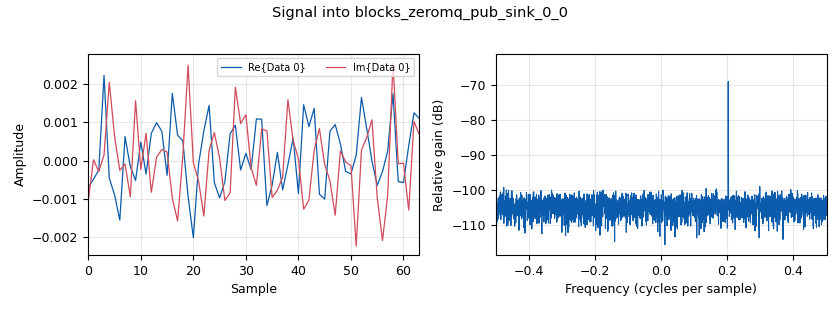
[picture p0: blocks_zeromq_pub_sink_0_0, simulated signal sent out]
options:
  parameters:
    author: Jérôme Odier
    description: https://www.odier.xyz/
    generate_options: no_gui
    id: spectro_osmo
    output_language: python
    title: Spectro OsmoSDR
  states: {}

blocks:
- name: analog_fastnoise_source_x_0
  id: analog_fastnoise_source_x
  parameters:
    amp: '0.001'
    noise_type: analog.GR_GAUSSIAN
    samples: '8192'
    seed: '0'
    type: complex
  states: {}
- name: analog_sig_source_x_0
  id: analog_sig_source_x
  parameters:
    amp: '0.001'
    freq: '1420405751'
    offset: '0'
    phase: '0'
    samp_rate: bandwidth
    type: complex
    waveform: analog.GR_COS_WAVE
  states: {}
- name: bandwidth
  id: parameter
  parameters:
    type: eng_float
    value: 2e6
  states: {}
- name: blocks_add_xx_0
  id: blocks_add_xx
  parameters:
    type: complex
  states: {}
- name: blocks_throttle_0
  id: blocks_throttle
  parameters:
    samples_per_second: bandwidth
    type: complex
  states: {}
- name: blocks_zeromq_pub_sink_0
  id: zeromq_pub_sink
  parameters:
    address: '''tcp://*:{}''.format(port2)'
    timeout: '100'
    type: float
    vlen: fft_bins
  states: {}
- name: blocks_zeromq_pub_sink_0_0
  id: zeromq_pub_sink
  parameters:
    address: '''tcp://*:{}''.format(port1)'
    timeout: '100'
    type: complex
  states: {}
- name: clk_src
  id: parameter
  parameters:
    type: str
    value: external
  states: {}
- name: fft_bins
  id: parameter
  parameters:
    type: intx
    value: '2048'
  states: {}
- name: frequency
  id: parameter
  parameters:
    type: eng_float
    value: 1420e6
  states: {}
- name: int_time
  id: parameter
  parameters:
    type: intx
    value: '1'
  states: {}
- name: port1
  id: parameter
  parameters:
    type: intx
    value: '50001'
  states: {}
- name: port2
  id: parameter
  parameters:
    type: intx
    value: '50002'
  states: {}
- name: rtlsdr_source_0
  id: rtlsdr_source
  parameters:
    bb_gain0: '20'
    freq0: frequency
    gain0: rx_gain
    gain_mode0: 'False'
    if_gain0: '20'
    sample_rate: bandwidth
    sync: sync
    type: fc32
  states: {}
- name: rx_gain
  id: parameter
  parameters:
    type: eng_float
    value: '30'
  states: {}
- name: spectro_0
  id: spectro
  parameters:
    bandwidth: bandwidth
    fft_bins: fft_bins
    int_time: '1'
  states: {}

connections:
- [analog_fastnoise_source_x_0, '0', blocks_add_xx_0, '1']
- [analog_sig_source_x_0, '0', blocks_add_xx_0, '0']
- [blocks_add_xx_0, '0', blocks_throttle_0, '0']
- [blocks_throttle_0, '0', blocks_zeromq_pub_sink_0_0, '0']
- [blocks_throttle_0, '0', spectro_0, '0']
- [rtlsdr_source_0, '0', spectro_0, '0']
- [spectro_0, '0', blocks_zeromq_pub_sink_0, '0']

metadata:
  file_format: 1
